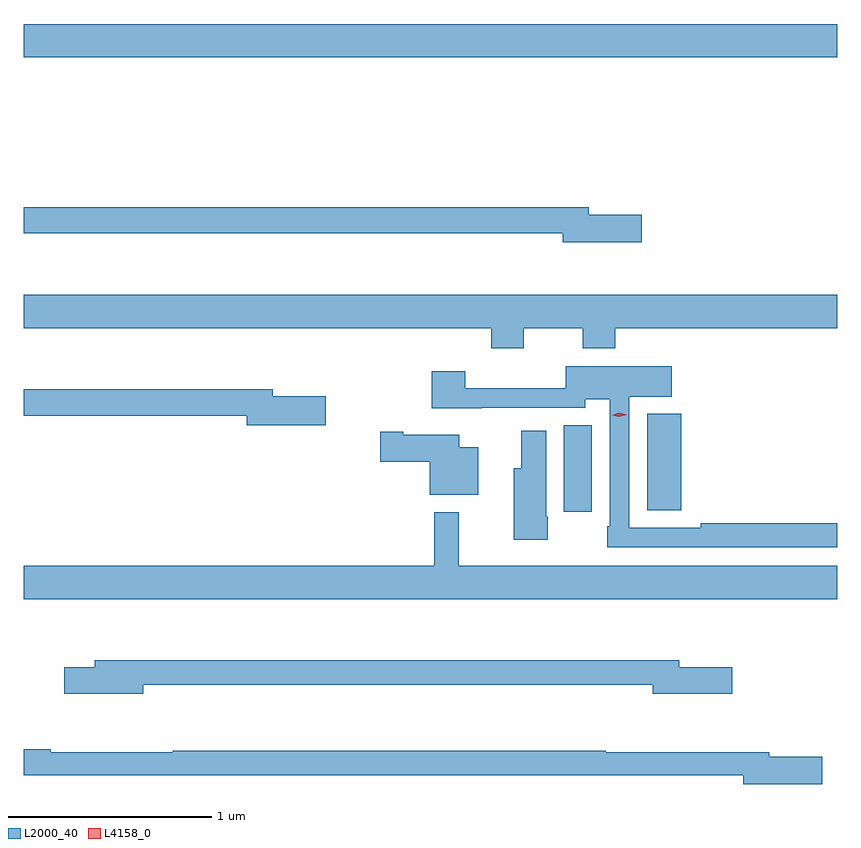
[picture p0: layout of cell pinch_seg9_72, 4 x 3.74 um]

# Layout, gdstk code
import gdstk
lib = gdstk.Library(unit=1e-6, precision=1e-09)
def R(c, l, rs):  # rectangles x0, y0, x1, y1
    for r in rs: c.add(gdstk.rectangle(r[:2], r[2:], *l))
def P(c, l, *ps):  # polygons
    for p in ps: c.add(gdstk.Polygon(p, *l))
L2000_40 = (2000, 40)
L4158_0 = (4158, 0)

pinch_seg9_72 = lib.new_cell('pinch_seg9_72')
R(pinch_seg9_72, L2000_40, [(1009.394,1172.874,1009.531,1173.299), (1009.805,1172.881,1009.972,1173.355), (1006.738,1175.108,1010.738,1175.272)])
P(pinch_seg9_72, L2000_40, [(1009.777,1174.334),(1009.516,1174.334),(1009.516,1174.37),(1006.738,1174.37),(1006.738,1174.242),(1009.388,1174.242),(1009.388,1174.199),(1009.777,1174.199)],
  [(1009.197,1173.776),(1009.486,1173.776),(1009.486,1173.677),(1009.646,1173.677),(1009.646,1173.776),(1010.738,1173.776),(1010.738,1173.94),(1006.738,1173.94),(1006.738,1173.776),(1009.037,1173.776),(1009.037,1173.677),(1009.197,1173.677)],
  [(1010.738,1172.816),(1010.068,1172.816),(1010.068,1172.796),(1009.716,1172.796),(1009.716,1173.44),(1009.924,1173.44),(1009.924,1173.589),(1009.404,1173.589),(1009.404,1173.482),(1008.908,1173.482),(1008.908,1173.565),(1008.743,1173.565),(1008.743,1173.383),(1008.991,1173.383),(1008.991,1173.384),(1009.5,1173.384),(1009.5,1173.428),(1009.62,1173.428),(1009.62,1172.803),(1009.608,1172.803),(1009.608,1172.7),(1010.738,1172.7)],
  [(1008.223,1173.441),(1007.962,1173.441),(1007.962,1173.475),(1006.738,1173.475),(1006.738,1173.346),(1007.834,1173.346),(1007.834,1173.299),(1008.223,1173.299)],
  [(1009.314,1172.848),(1009.306,1172.848),(1009.306,1173.271),(1009.184,1173.271),(1009.184,1173.088),(1009.148,1173.088),(1009.148,1172.736),(1009.314,1172.736)],
  [(1008.973,1173.19),(1008.88,1173.19),(1008.88,1173.253),(1008.604,1173.253),(1008.604,1173.266),(1008.492,1173.266),(1008.492,1173.119),(1008.734,1173.119),(1008.734,1172.957),(1008.973,1172.957)],
  [(1010.738,1172.608),(1008.878,1172.608),(1008.878,1172.872),(1008.757,1172.872),(1008.757,1172.608),(1006.738,1172.608),(1006.738,1172.444),(1010.738,1172.444)],
  [(1007.326,1172.022),(1009.832,1172.022),(1009.832,1171.979),(1010.221,1171.979),(1010.221,1172.109),(1009.96,1172.109),(1009.96,1172.143),(1007.087,1172.143),(1007.087,1172.109),(1006.938,1172.109),(1006.938,1171.979),(1007.326,1171.979)],
  [(1010.665,1171.67),(1010.404,1171.67),(1010.404,1171.691),(1009.6,1171.691),(1009.6,1171.699),(1007.471,1171.699),(1007.471,1171.691),(1006.871,1171.691),(1006.871,1171.706),(1006.738,1171.706),(1006.738,1171.578),(1010.276,1171.578),(1010.276,1171.535),(1010.665,1171.535)])
P(pinch_seg9_72, L4158_0, [(1009.667,1173.34),(1009.632,1173.348),(1009.632,1173.348),(1009.632,1173.349),(1009.667,1173.36),(1009.702,1173.351),(1009.702,1173.351),(1009.702,1173.35)])

lib.write_gds('pinch_seg9_72.gds')
